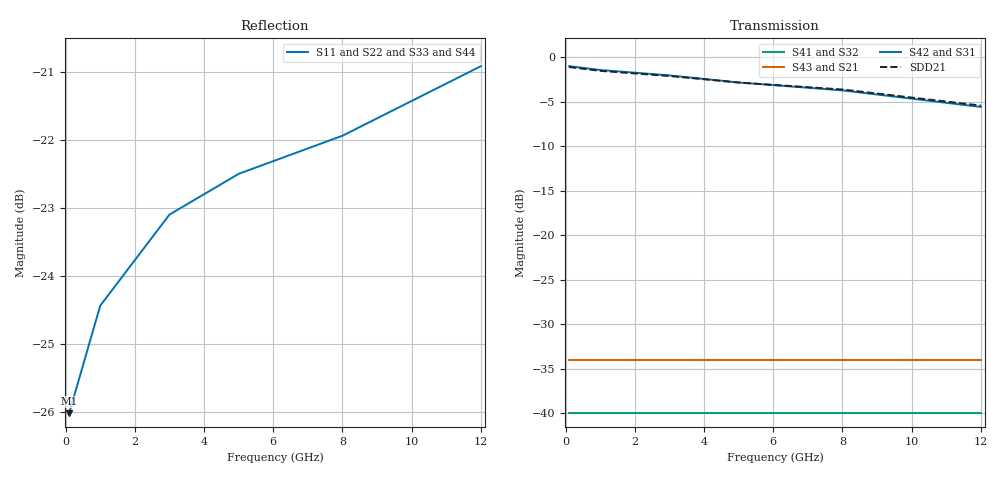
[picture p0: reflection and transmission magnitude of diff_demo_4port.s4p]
! Synthetic differential pair: input 1/2, output 3/4
# GHz S RI R 50
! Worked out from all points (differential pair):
!   6 points, 100 MHz to 12 GHz, reference 50 ohm
!   strongest paths, dB at 100 MHz, 1 GHz, 5 GHz, 8 GHz, 12 GHz:
!     S42: -1.0, -1.4, -2.8, -3.7, -5.6
!     S31: -1.0, -1.4, -2.8, -3.7, -5.6
!     S43: -34.0, -34.0, -34.0, -34.0, -34.0
!     S21: -34.0, -34.0, -34.0, -34.0, -34.0
!     S41: -40.0, -40.0, -40.0, -40.0, -40.0
!     S32: -40.0, -40.0, -40.0, -40.0, -40.0
!   taken as a pair (ports 2,1 in; 4,3 out), SDD21 dB: -1.1, -1.5, -2.8, -3.6, -5.4
!   lowest |S11| = -26.0 dB at 100 MHz (marker M1), VSWR 1.11, Z = 55.3 + j0 ohm
!   |S11| at or under -10 dB: start of sweep to end of sweep
0.1  0.05 0  0.02 0  0.89 -0.03  0.01 0
     0.02 0  0.05 0  0.01 0  0.89 -0.03
     0.89 -0.03  0.01 0  0.05 0  0.02 0
     0.01 0  0.89 -0.03  0.02 0  0.05 0
1  0.06 0  0.02 0  0.81 -0.25  0.01 0
   0.02 0  0.06 0  0.01 0  0.81 -0.25
   0.81 -0.25  0.01 0  0.06 0  0.02 0
   0.01 0  0.81 -0.25  0.02 0  0.06 0
3  0.07 0  0.02 0  0.49 -0.62  0.01 0
   0.02 0  0.07 0  0.01 0  0.49 -0.62
   0.49 -0.62  0.01 0  0.07 0  0.02 0
   0.01 0  0.49 -0.62  0.02 0  0.07 0
5  0.075 0  0.02 0  0.04 -0.72  0.01 0
   0.02 0  0.075 0  0.01 0  0.04 -0.72
   0.04 -0.72  0.01 0  0.075 0  0.02 0
   0.01 0  0.04 -0.72  0.02 0  0.075 0
8  0.08 0  0.02 0  -0.48 -0.44  0.01 0
   0.02 0  0.08 0  0.01 0  -0.48 -0.44
   -0.48 -0.44  0.01 0  0.08 0  0.02 0
   0.01 0  -0.48 -0.44  0.02 0  0.08 0
12  0.09 0  0.02 0  -0.49 0.19  0.01 0
    0.02 0  0.09 0  0.01 0  -0.49 0.19
    -0.49 0.19  0.01 0  0.09 0  0.02 0
    0.01 0  -0.49 0.19  0.02 0  0.09 0
